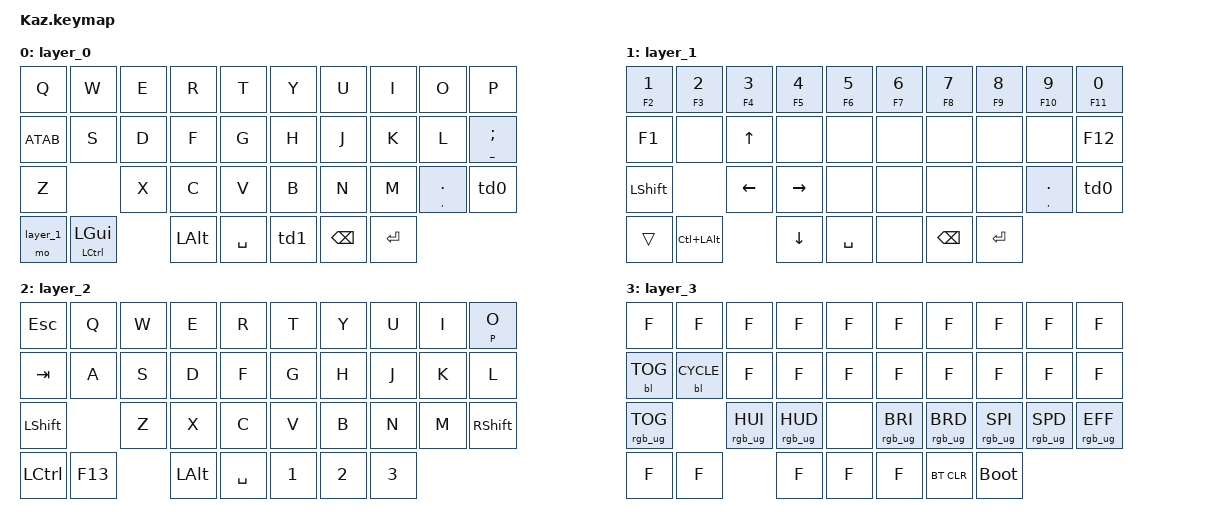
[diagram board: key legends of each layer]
/* 
 * Copyright (c) 2020 The ZMK Contributors
 *
 * SPDX-License-Identifier: MIT
 */

#include <behaviors.dtsi>
#include <dt-bindings/zmk/keys.h>
#include <dt-bindings/zmk/bt.h>
#include <dt-bindings/zmk/backlight.h>
#include <dt-bindings/zmk/rgb.h>

#define layer_0 0
#define layer_1 1
#define layer_2 2
#define layer_3 3

/ {

    behaviors {
        hm: homerow_mods {
            compatible = "zmk,behavior-hold-tap";
            label = "homerow mods";
            #binding-cells = <2>;
            tapping-term-ms = <500>;
            flavor = "tap-preferred";
            bindings = <&kp>, <&kp>;
        };

    td0: tap_dance_0 {
            compatible = "zmk,behavior-tap-dance";
            label = "TAP_DANCE_0";
            #binding-cells = <0>;
            tapping-term-ms = <200>;
            bindings = <&kp LSHIFT>, <&kp CAPS>;
        };

     td1: tap_dance_1 {
            compatible = "zmk,behavior-tap-dance";
            label = "TAP_DANCE_1";
            #binding-cells = <0>;
            tapping-term-ms = <200>;
            bindings = <&kp MINUS>, <&kp DELETE>;
        };

      ATAB: a_tab {
            compatible = "zmk,behavior-mod-morph";
            label = "A_TAB";
            #binding-cells = <0>;
            bindings = <&kp A>, <&kp TAB>;
            mods = <(MOD_LALT)>;
            keep-mods = <(MOD_LALT)>;
        };

        combos {
        compatible = "zmk,combos";
        combo_esc {
            timeout-ms = <50>;
            key-positions = <0 9>;
            bindings = <&tog layer_2>;
        };

        combo_bluetooth {
            timeout-ms = <50>;
            key-positions = <1 8>;
            bindings = <&tog layer_3>;
          };
       };   
    };
};

/ {
    keymap {
        compatible = "zmk,keymap";

       layer_0 {
            bindings = <
    &kp Q     &kp W      &kp E       &kp R       &kp T       &kp Y       &kp U       &kp I       &kp O      &kp P
    &ATAB     &kp S      &kp D       &kp F       &kp G       &kp H       &kp J       &kp K       &kp L      &mt UNDERSCORE SEMICOLON
    &kp Z                &kp X       &kp C       &kp V       &kp B       &kp N       &kp M       &mt COMMA DOT  &td0
    &mo layer_1  &mt LCTRL LGUI     &kp LALT       &kp SPACE     &td1    &kp BACKSPACE   &kp ENTER   
            >;
        };

        layer_1 {
            bindings = <
    &mt F2 N1     &mt F3 N2     &mt F4 N3     &mt F5 N4     &mt F6 N5     &mt F7 N6     &mt F8 N7     &mt F9 N8      &mt F10 N9    &mt F11 N0 
    &kp F1       &none      &kp UP      &none      &none      &none      &none      &none       &none     &kp F12 
    &kp LSHFT                 &kp LEFT      &kp RIGHT      &none      &none      &none      &none      &mt COMMA DOT     &td0
    &trans       &kp LC(LALT)    &kp DOWN         &kp SPACE         &none      &kp BACKSPACE     &kp ENTER
            >;
         };

         layer_2 {
             bindings = <
    &kp ESC     &kp Q     &kp W      &kp E       &kp R       &kp T       &kp Y       &kp U       &kp I       &mt P O
    &kp TAB     &kp A     &kp S      &kp D       &kp F       &kp G       &kp H       &kp J       &kp K       &kp L
    &kp LSHFT    &kp Z                &kp X       &kp C       &kp V       &kp B       &kp N       &kp M      &kp RSHFT
    &kp LCTRL  &kp F13   &kp LALT       &kp SPACE       &kp N1     &kp N2    &kp N3
          >;
       };

       layer_3 {
             bindings = <
    &kp F     &kp F     &kp F      &kp F       &kp F       &kp F       &kp F       &kp F       &kp F       &kp F
    &bl BL_TOG     &bl BL_CYCLE     &kp F      &kp F       &kp F       &kp F       &kp F       &kp F       &kp F       &kp F
    &rgb_ug RGB_TOG    &rgb_ug RGB_HUI      &rgb_ug RGB_HUD       &none       &rgb_ug RGB_BRI      &rgb_ug RGB_BRD      &rgb_ug RGB_SPI      &rgb_ug RGB_SPD      &rgb_ug RGB_EFF
    &kp F     &kp F     &kp F      &kp F       &kp F     &bt BT_CLR    &bootloader
          >;
       };
    };
};
